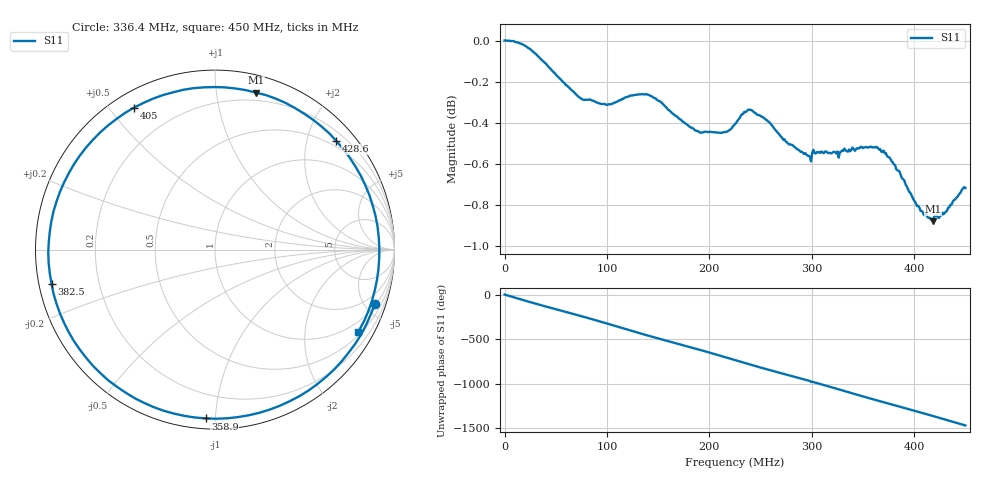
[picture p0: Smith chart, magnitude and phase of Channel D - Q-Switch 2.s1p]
! NanoVNA-App
! Date: 2026-10-05 11:14:04
! Start: 50kHz Stop: 450MHz Points: 401
! S-Parameter data: F S11
# Hz S RI R 50
!  Frequency  S11_Real  S11_Imag
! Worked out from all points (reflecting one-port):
!   401 points, 50 kHz to 450 MHz, reference 50 ohm
!   lowest |S11| = -0.9 dB at 418.5 MHz (marker M1), VSWR 19.81, Z = 6.72 + j64.3 ohm
!   phase of S11 starts at -0 deg and turns -1470 deg over the sweep
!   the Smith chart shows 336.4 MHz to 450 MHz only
!   S11 on the Smith chart (normalised r, x): 336.4 MHz: 1.10, -5.83; 358.9 MHz: 0.06, -0.94; 382.5 MHz: 0.04, -0.10; 405 MHz: 0.06, +0.58; 428.6 MHz: 0.37, +2.56; 450 MHz: 0.60, -3.65
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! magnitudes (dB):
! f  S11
! 50 kHz  0.0
! 22.55 MHz  0.0
! 56.29 MHz  -0.2
! 76.54 MHz  -0.3
! 101.3 MHz  -0.3
! 112.5 MHz  -0.3
! 140.7 MHz  -0.3
! 168.8 MHz  -0.4
! 192.4 MHz  -0.4
! 214.9 MHz  -0.4
! 225 MHz  -0.4
! 232.9 MHz  -0.4
! 240.8 MHz  -0.3
! 256.5 MHz  -0.4
! 272.3 MHz  -0.5
! 281.3 MHz  -0.5
! 297 MHz  -0.6
! 302.6 MHz  -0.5
! 336.4 MHz  -0.5
! 337.5 MHz  -0.5
! 358.9 MHz  -0.5
! 371.3 MHz  -0.5
! 382.5 MHz  -0.6
! 393.8 MHz  -0.7
! 405 MHz  -0.8
! 418.5 MHz  -0.9
! 428.6 MHz  -0.8
! 450 MHz  -0.7
